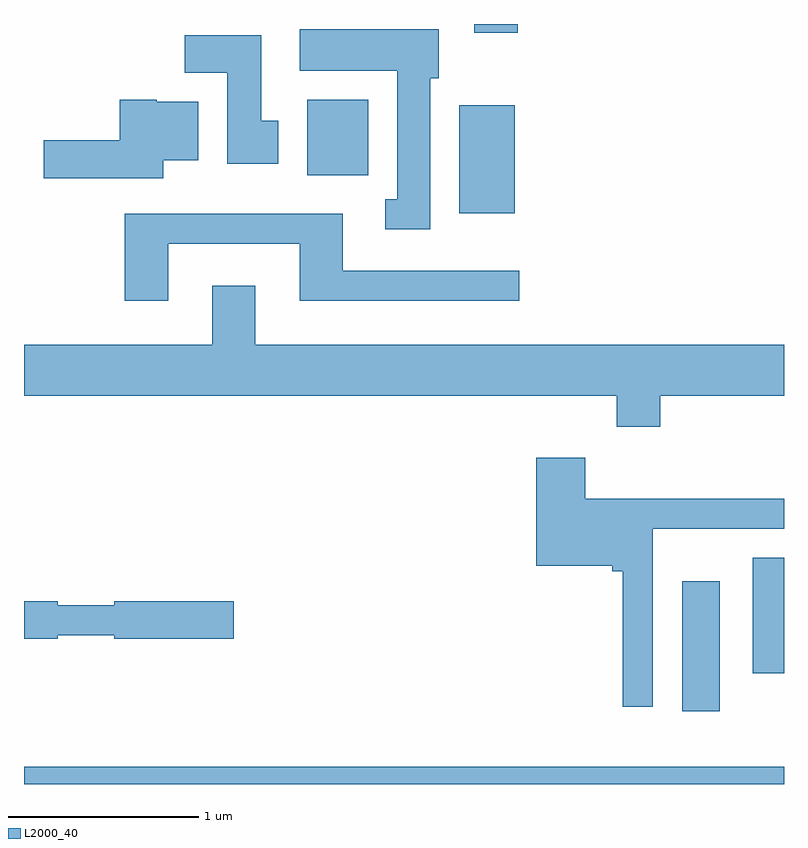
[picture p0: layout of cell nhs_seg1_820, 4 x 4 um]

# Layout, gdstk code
import gdstk
lib = gdstk.Library(unit=1e-6, precision=1e-09)
def R(c, l, rs):  # rectangles x0, y0, x1, y1
    for r in rs: c.add(gdstk.rectangle(r[:2], r[2:], *l))
def P(c, l, *ps):  # polygons
    for p in ps: c.add(gdstk.Polygon(p, *l))
L2000_40 = (2000, 40)

nhs_seg1_820 = lib.new_cell('nhs_seg1_820')
R(nhs_seg1_820, L2000_40, [(209.611,939.712,213.611,939.804), (213.076,940.096,213.274,940.779), (213.446,940.296,213.611,940.904), (211.901,942.716,212.194,943.284), (211.101,942.916,211.424,943.314), (211.981,943.666,212.209,943.712)])
P(nhs_seg1_820, L2000_40, [(211.749,943.426),(211.794,943.426),(211.794,943.684),(211.061,943.684),(211.061,943.466),(211.576,943.466),(211.576,942.789),(211.513,942.789),(211.513,942.631),(211.749,942.631)],
  [(210.949,943.204),(210.859,943.204),(210.859,943.654),(210.456,943.654),(210.456,943.456),(210.681,943.456),(210.681,942.976),(210.949,942.976)],
  [(210.344,942.996),(210.529,942.996),(210.529,943.304),(210.31,943.304),(210.31,943.314),(210.116,943.314),(210.116,943.099),(209.716,943.099),(209.716,942.901),(210.344,942.901)],
  [(210.369,942.556),(211.061,942.556),(211.061,942.256),(212.218,942.256),(212.218,942.414),(211.289,942.414),(211.289,942.714),(210.141,942.714),(210.141,942.256),(210.369,942.256)],
  [(212.959,941.756),(213.611,941.756),(213.611,942.024),(210.829,942.024),(210.829,942.334),(210.601,942.334),(210.601,942.024),(209.611,942.024),(209.611,941.756),(212.731,941.756),(212.731,941.591),(212.959,941.591)],
  [(212.919,941.056),(213.611,941.056),(213.611,941.214),(212.564,941.214),(212.564,941.429),(212.306,941.429),(212.306,940.861),(212.706,940.861),(212.706,940.831),(212.761,940.831),(212.761,940.118),(212.919,940.118)],
  [(209.789,940.496),(210.086,940.496),(210.086,940.476),(210.714,940.476),(210.714,940.674),(210.086,940.674),(210.086,940.654),(209.789,940.654),(209.789,940.674),(209.611,940.674),(209.611,940.476),(209.789,940.476)])

lib.write_gds('nhs_seg1_820.gds')
